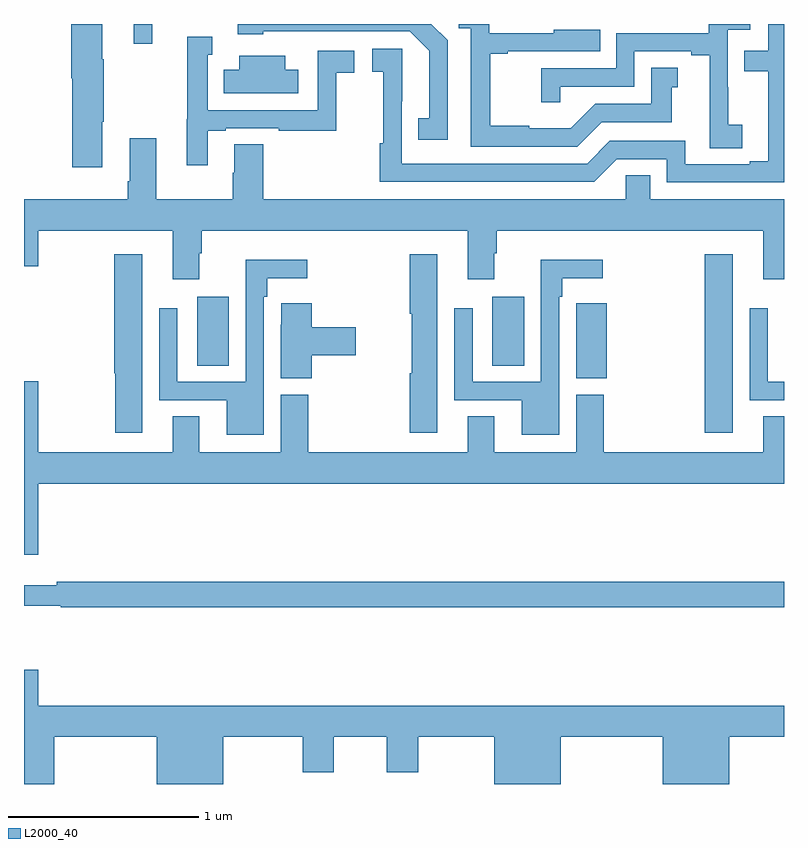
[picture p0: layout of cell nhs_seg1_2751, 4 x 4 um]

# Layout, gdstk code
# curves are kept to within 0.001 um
import gdstk
lib = gdstk.Library(unit=1e-6, precision=1e-09)
def R(c, l, rs):  # rectangles x0, y0, x1, y1
    for r in rs: c.add(gdstk.rectangle(r[:2], r[2:], *l))
def P(c, l, *ps):  # polygons
    for p in ps: c.add(gdstk.Polygon(p, *l))
L2000_40 = (2000, 40)

nhs_seg1_2751 = lib.new_cell('nhs_seg1_2751')
R(nhs_seg1_2751, L2000_40, [(264.584,504.048,264.73,504.988), (261.911,504.4,262.078,504.763), (263.465,504.4,263.632,504.763), (261.578,506.094,261.675,506.199)])
P(nhs_seg1_2751, L2000_40, [(264.781,505.668),(264.707,505.668),(264.707,505.865),(264.705,505.865),(264.705,506.169),(264.823,506.169),(264.823,506.199),(264.604,506.199),(264.604,506.151),(264.117,506.151),(264.117,505.965),(263.722,505.965),(263.722,505.788),(263.823,505.788),(263.823,505.869),(264.213,505.869),(264.213,506.055),(264.512,506.055),(264.512,506.035),(264.608,506.035),(264.608,505.657),(264.61,505.657),(264.61,505.546),(264.781,505.546)],
  [(261.412,505.684),(261.42,505.684),(261.42,506.014),(261.412,506.014),(261.412,506.199),(261.248,506.199),(261.248,505.914),(261.254,505.914),(261.254,505.446),(261.412,505.446)],
  [(263.229,506.114),(263.144,506.199),(262.124,506.199),(262.124,506.144),(262.26,506.144),(262.26,506.16),(263.031,506.16),(263.132,506.059),(263.132,505.703),(263.074,505.703),(263.074,505.59),(263.229,505.59)],
  [(264.042,505.683),(264.409,505.683),(264.409,505.867),(264.442,505.867),(264.442,505.97),(264.302,505.97),(264.302,505.779),(264.006,505.779),(263.878,505.651),(263.66,505.651),(263.66,505.663),(263.453,505.663),(263.453,506.043),(263.545,506.043),(263.545,506.055),(264.032,506.055),(264.032,506.17),(263.789,506.17),(263.789,506.151),(263.448,506.151),(263.448,506.199),(263.287,506.199),(263.287,506.177),(263.352,506.177),(263.352,505.554),(263.913,505.554)],
  [(265,506.199),(264.918,506.199),(264.918,506.058),(264.79,506.058),(264.79,505.95),(264.917,505.95),(264.917,505.476),(264.821,505.476),(264.821,505.461),(264.48,505.461),(264.48,505.584),(264.084,505.584),(263.964,505.464),(262.989,505.464),(262.99,506.068),(262.833,506.068),(262.833,505.947),(262.891,505.947),(262.891,505.571),(262.873,505.571),(262.873,505.368),(264,505.368),(264.12,505.488),(264.384,505.488),(264.384,505.365),(265,505.365)],
  [(261.967,505.638),(262.063,505.638),(262.063,505.65),(262.342,505.65),(262.342,505.638),(262.644,505.638),(262.644,505.942),(262.738,505.942),(262.738,506.058),(262.545,506.058),(262.545,505.746),(261.966,505.746),(261.966,506.037),(261.991,506.037),(261.991,506.131),(261.858,506.131),(261.858,505.699),(261.857,505.699),(261.857,505.455),(261.967,505.455)],
  [(262.444,505.957),(262.375,505.957),(262.375,506.032),(262.133,506.032),(262.133,505.957),(262.051,505.957),(262.051,505.835),(262.444,505.835)],
  [(262.259,505.565),(262.106,505.565),(262.106,505.415),(262.099,505.415),(262.099,505.276),(261.697,505.276),(261.697,505.597),(261.557,505.597),(261.557,505.372),(261.545,505.372),(261.545,505.276),(261,505.276),(261,504.924),(261.076,504.924),(261.076,505.112),(261.782,505.112),(261.782,504.855),(261.922,504.855),(261.922,504.992),(261.935,504.992),(261.935,505.112),(263.336,505.112),(263.336,504.855),(263.476,504.855),(263.476,504.992),(263.489,504.992),(263.489,505.112),(264.89,505.112),(264.89,504.855),(265,504.855),(265,505.276),(264.295,505.276),(264.295,505.403),(264.168,505.403),(264.168,505.276),(262.259,505.276)],
  [(261.622,504.988),(261.476,504.988),(261.476,504.36),(261.481,504.36),(261.481,504.048),(261.622,504.048)],
  [(263.176,504.988),(263.03,504.988),(263.03,504.675),(263.042,504.675),(263.042,504.36),(263.03,504.36),(263.03,504.048),(263.176,504.048)],
  [(262.263,504.764),(262.279,504.764),(262.279,504.86),(262.492,504.86),(262.492,504.958),(262.167,504.958),(262.167,504.315),(261.807,504.315),(261.807,504.703),(261.711,504.703),(261.711,504.219),(262.067,504.219),(262.067,504.038),(262.263,504.038)],
  [(263.817,504.764),(263.833,504.764),(263.833,504.86),(264.046,504.86),(264.046,504.958),(263.721,504.958),(263.721,504.315),(263.361,504.315),(263.361,504.703),(263.265,504.703),(263.265,504.219),(263.621,504.219),(263.621,504.038),(263.817,504.038)],
  [(264.068,504.73),(263.907,504.73),(263.907,504.617),(263.906,504.617),(263.906,504.334),(264.068,504.334)],
  [(262.514,504.455),(262.747,504.455),(262.747,504.602),(262.514,504.602),(262.514,504.73),(262.353,504.73),(262.353,504.617),(262.352,504.617),(262.352,504.334),(262.514,504.334)],
  [(265,504.315),(264.915,504.315),(264.915,504.703),(264.819,504.703),(264.819,504.219),(265,504.219)],
  [(261.076,503.78),(265,503.78),(265,504.134),(264.89,504.134),(264.89,503.944),(264.05,503.944),(264.05,504.249),(263.906,504.249),(263.906,503.944),(263.476,503.944),(263.476,504.134),(263.336,504.134),(263.336,503.944),(262.496,503.944),(262.496,504.249),(262.352,504.249),(262.352,503.944),(261.922,503.944),(261.922,504.134),(261.782,504.134),(261.782,503.944),(261.076,503.944),(261.076,504.319),(261,504.319),(261,503.406),(261.076,503.406)],
  [(265,503.264),(261.172,503.264),(261.172,503.245),(261,503.245),(261,503.136),(261.194,503.136),(261.194,503.128),(265,503.128)],
  [(261.16,502.448),(261.698,502.448),(261.698,502.199),(262.048,502.199),(262.048,502.448),(262.466,502.448),(262.466,502.26),(262.63,502.26),(262.63,502.448),(262.91,502.448),(262.91,502.26),(263.074,502.26),(263.074,502.448),(263.474,502.448),(263.474,502.199),(263.824,502.199),(263.824,502.448),(264.362,502.448),(264.362,502.199),(264.712,502.199),(264.712,502.448),(265,502.448),(265,502.612),(261.076,502.612),(261.076,502.801),(261,502.801),(261,502.199),(261.16,502.199)])

lib.write_gds('nhs_seg1_2751.gds')
